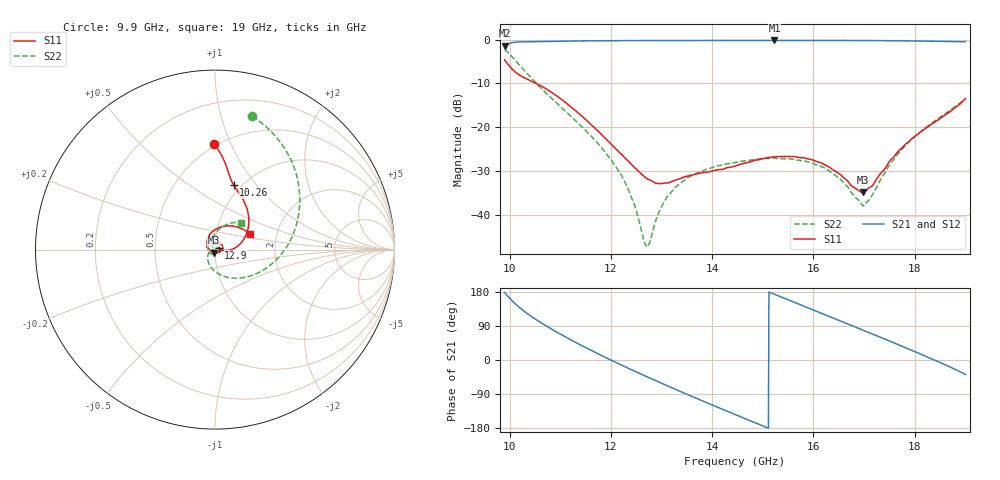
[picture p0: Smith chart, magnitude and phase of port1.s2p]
! RsaToolbox (C) 2015 Rohde & Schwarz America
! Number of points: 911
! Number of ports: 2
! Balanced ports?: No
# Hz S RI R 50
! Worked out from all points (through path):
!   911 points, 9.9 GHz to 19 GHz, reference 50 ohm
!   highest |S21| = -0.18 dB at 15.23 GHz (marker M1); lowest = -1.4 dB at 9.9 GHz (marker M2)
!   group delay of S21, straight-line fit = 163 ps
!   lowest |S11| = -34.9 dB at 16.97 GHz (marker M3), VSWR 1.04, Z = 49.5 - j1.73 ohm
!   |S11| at or under -10 dB: 10.53 GHz to end of sweep
!   |S22| runs from -47.2 to -2.3 dB; largest |S21 - S12| = 0
!   S11 on the Smith chart (normalised r, x): 9.9 GHz: 0.48, +0.87; 10.26 GHz: 0.92, +0.77; 12.9 GHz: 1.04, +0.02; 19 GHz: 1.45, +0.27
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9.9e9  -0.00452 0.5875  -0.8522 0.0272  -0.8522 0.0272  0.2081 0.7421
1.007e10  0.0701 0.4432  -0.831 0.4155  -0.831 0.4155  0.4532 0.4195
1.026e10  0.1039 0.3601  -0.6236 0.7103  -0.6236 0.7103  0.4477 0.1195
1.051e10  0.1561 0.2792  -0.2872 0.9035  -0.2872 0.9035  0.3135 -0.0821
1.079e10  0.1881 0.1779  0.0909 0.9498  0.0909 0.9498  0.1622 -0.1554
1.142e10  0.1328 0.0244  0.7598 0.5995  0.7598 0.5995  -0.0213 -0.0998
1.182e10  0.0822 -0.00267  0.953 0.1924  0.953 0.1924  -0.041 -0.0405
1.223e10  0.0474 -0.00378  0.9426 -0.2485  0.9426 -0.2485  -0.0257 -0.00721
1.269e10  0.0261 0.0045  0.7148 -0.6655  0.7148 -0.6655  -0.00306 -0.00338
1.276e10  0.0242 0.00606  0.6644 -0.7163  0.6644 -0.7163  -0.000596 -0.00467
1.29e10  0.0207 0.00966  0.5536 -0.8053  0.5536 -0.8053  0.00236 -0.00887
1.294e10  0.0201 0.0107  0.52 -0.8276  0.52 -0.8276  0.00277 -0.01
1.326e10  0.0173 0.0177  0.2267 -0.9513  0.2267 -0.9513  0.000782 -0.0201
1.366e10  0.0178 0.023  -0.1625 -0.9649  -0.1625 -0.9649  -0.0133 -0.0259
1.445e10  0.0206 0.0295  -0.7901 -0.5782  -0.7901 -0.5782  -0.0395 0.00146
1.523e10  0.0353 0.0293  -0.9729 0.111  -0.9729 0.111  -0.0193 0.0398
1.597e10  0.0421 0.00635  -0.6731 0.7108  -0.6731 0.7108  0.0166 0.0354
1.648e10  0.027 -0.0137  -0.2677 0.9413  -0.2677 0.9413  0.0202 0.0176
1.697e10  -0.00463 -0.0174  0.1819 0.9601  0.1819 0.9601  0.00525 0.0118
1.749e10  -0.0383 0.0112  0.6164 0.7537  0.6164 0.7537  -0.012 0.0343
1.827e10  -0.0134 0.1009  0.9549 0.1132  0.9549 0.1132  0.0123 0.1039
1.9e10  0.193 0.0882  0.7489 -0.5847  0.7489 -0.5847  0.1456 0.1464
